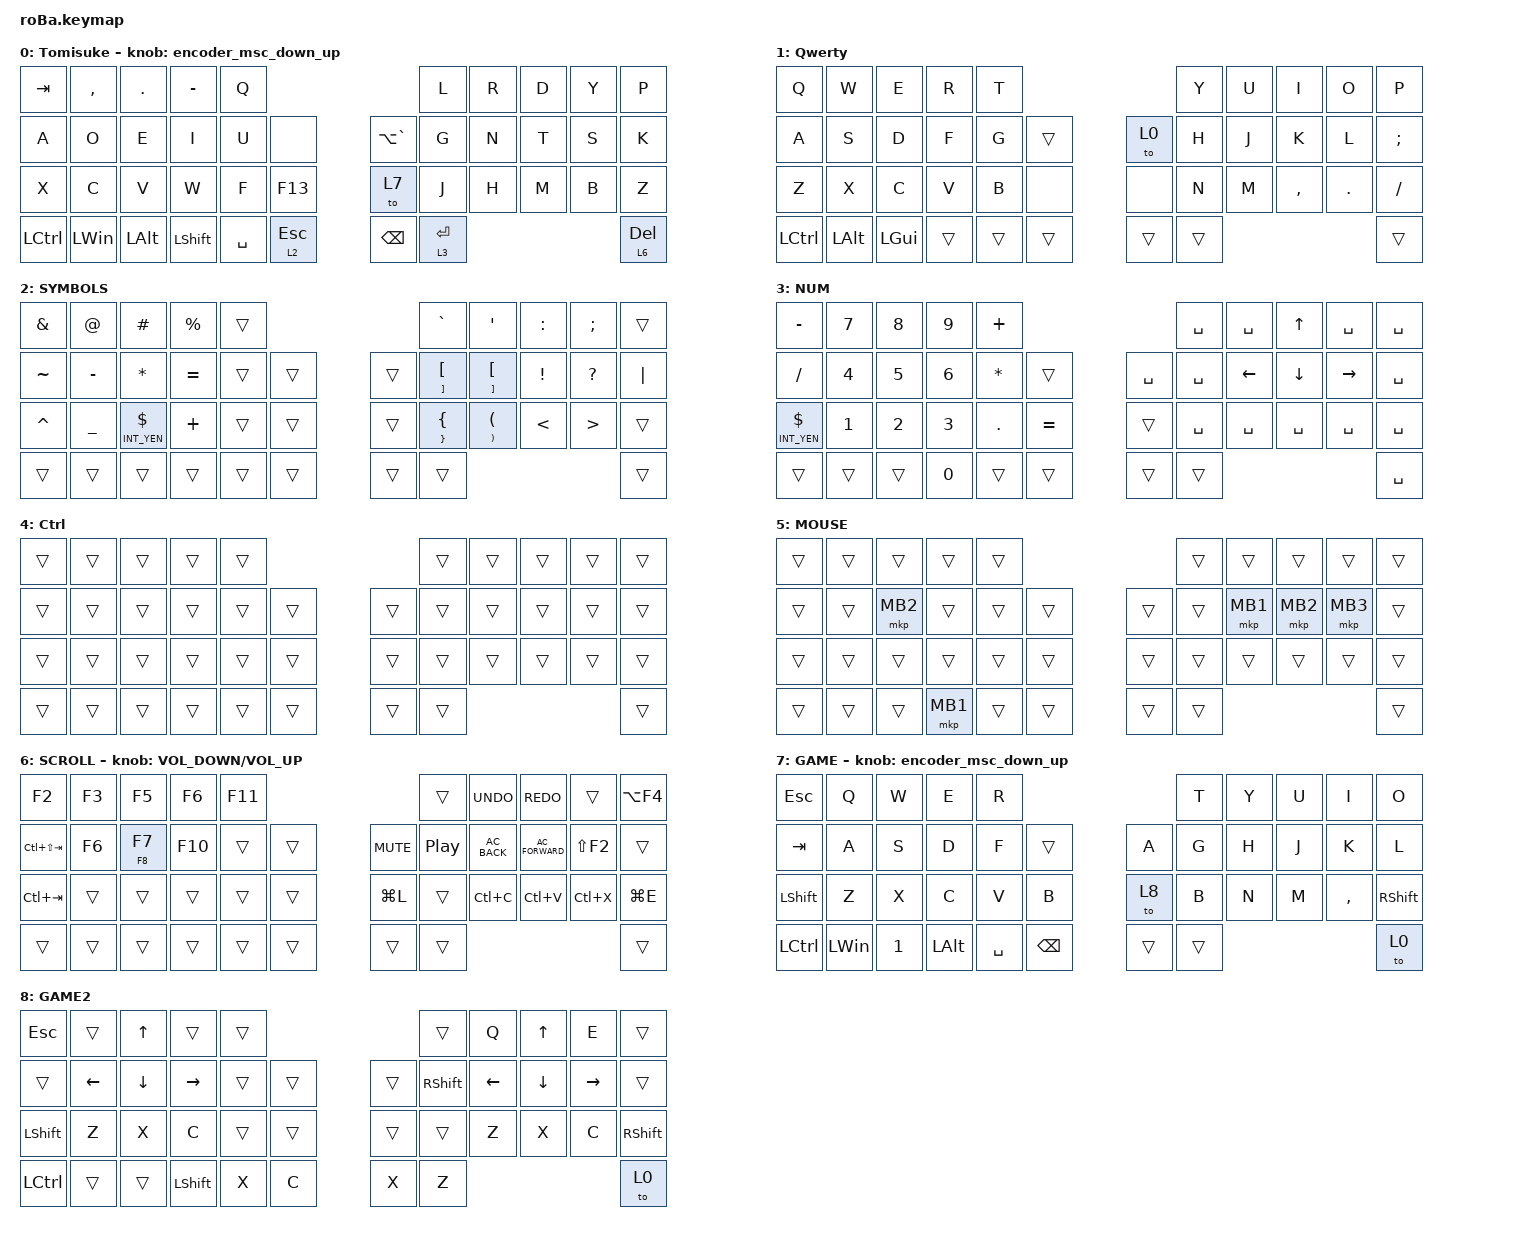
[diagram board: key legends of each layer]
#include <input/processors.dtsi>
#include <behaviors.dtsi>
#include <dt-bindings/zmk/keys.h>
#include <dt-bindings/zmk/pointing.h>

#define ZMK_POINTING_DEFAULT_SCRL_VAL 80

&mt {
    flavor = "balanced";
    quick-tap-ms = <0>;
};

&trackball {
    scroll-layers = <6>;

    // arrows {
    //     layers = <3>;
    //     bindings =
    //         <&kp RIGHT_ARROW>,
    //         <&kp LEFT_ARROW>,
    //         <&kp UP_ARROW>,
    //         <&kp DOWN_ARROW>;
    //     tick = <10>;
    //     wait-ms = <5>;
    //     tap-ms = <5>;
    // };
};

/ {
    combos { compatible = "zmk,combos"; };

    #define MOUSE 5

    macros {
        to_layer_0: to_layer_0 {
            compatible = "zmk,behavior-macro-one-param";
            #binding-cells = <1>;
            bindings = <&to 0 &macro_param_1to1 &kp MACRO_PLACEHOLDER>;
            label = "TO_LAYER_0";
        };
    };

    behaviors {
        lt_to_layer_0: lt_to_layer_0 {
            compatible = "zmk,behavior-hold-tap";
            label = "LAYER_TAP_TO_0";
            bindings = <&mo>, <&to_layer_0>;

            #binding-cells = <2>;
            tapping-term-ms = <200>;
        };

        encoder_msc_down_up: encoder_msc_down_up {
            compatible = "zmk,behavior-sensor-rotate";
            label = "ENCODER_MSC_DOWN_UP";
            #sensor-binding-cells = <0>;
            bindings = <&msc SCRL_DOWN>, <&msc SCRL_UP>;

            tap-ms = <20>;
        };
    };

    keymap {
        compatible = "zmk,keymap";

        Tomisuke {
            bindings = <
&kp TAB    &kp COMMA     &kp PERIOD    &kp MINUS   &kp Q                                                  &kp L        &kp R  &kp D  &kp Y  &kp P
&kp A      &kp O         &kp E         &kp I       &kp U      &none                        &kp LA(GRAVE)  &kp G        &kp N  &kp T  &kp S  &kp K
&kp X      &kp C         &kp V         &kp W       &kp F      &kp F13                      &to 7          &kp J        &kp H  &kp M  &kp B  &kp Z
&kp LCTRL  &kp LEFT_WIN  &kp LEFT_ALT  &kp LSHIFT  &kp SPACE  &lt_to_layer_0 2 ESCAPE      &kp BACKSPACE  &lt 3 ENTER                       &lt_to_layer_0 6 DELETE
            >;

            sensor-bindings = <&encoder_msc_down_up>;
        };

        Qwerty {
            bindings = <
&kp Q      &kp W     &kp E     &kp R   &kp T                       &kp Y   &kp U  &kp I      &kp O    &kp P
&kp A      &kp S     &kp D     &kp F   &kp G   &trans      &to 0   &kp H   &kp J  &kp K      &kp L    &kp SEMI
&kp Z      &kp X     &kp C     &kp V   &kp B   &none       &none   &kp N   &kp M  &kp COMMA  &kp DOT  &kp FSLH
&kp LCTRL  &kp LALT  &kp LGUI  &trans  &trans  &trans      &trans  &trans                             &trans
            >;
        };

        SYMBOLS {
            bindings = <
&kp AMPERSAND  &kp AT          &kp HASH            &kp PERCENT  &trans                      &kp GRAVE      &kp APOS               &kp COLON      &kp SEMI          &trans
&kp TILDE      &kp MINUS       &kp ASTERISK        &kp EQUAL    &trans  &trans      &trans  &mt RBKT LBKT  &mt RBKT LEFT_BRACKET  &kp EXCL       &kp QUESTION      &kp PIPE
&kp CARET      &kp UNDERSCORE  &mt INT_YEN DOLLAR  &kp PLUS     &trans  &trans      &trans  &mt RBRC LBRC  &mt RPAR LPAR          &kp LESS_THAN  &kp GREATER_THAN  &trans
&trans         &trans          &trans              &trans       &trans  &trans      &trans  &trans                                                                 &trans
            >;
        };

        NUM {
            bindings = <
&kp MINUS           &kp NUMBER_7  &kp NUMBER_8  &kp NUMBER_9  &kp PLUS                                &kp SPACE  &kp SPACE  &kp UP     &kp SPACE  &kp SPACE
&kp SLASH           &kp NUMBER_4  &kp N5        &kp N6        &kp ASTERISK  &trans         &kp SPACE  &kp SPACE  &kp LEFT   &kp DOWN   &kp RIGHT  &kp SPACE
&mt INT_YEN DOLLAR  &kp NUMBER_1  &kp NUMBER_2  &kp NUMBER_3  &kp PERIOD    &kp EQUAL      &trans     &kp SPACE  &kp SPACE  &kp SPACE  &kp SPACE  &kp SPACE
&trans              &trans        &trans        &kp N0        &trans        &trans         &trans     &trans                                      &kp SPACE
            >;
        };

        Ctrl {
            bindings = <
&trans  &trans  &trans  &trans  &trans                      &trans  &trans  &trans  &trans  &trans
&trans  &trans  &trans  &trans  &trans  &trans      &trans  &trans  &trans  &trans  &trans  &trans
&trans  &trans  &trans  &trans  &trans  &trans      &trans  &trans  &trans  &trans  &trans  &trans
&trans  &trans  &trans  &trans  &trans  &trans      &trans  &trans                          &trans
            >;
        };

        MOUSE {
            bindings = <
&trans  &trans  &trans    &trans    &trans                      &trans  &trans    &trans    &trans    &trans
&trans  &trans  &mkp MB2  &trans    &trans  &trans      &trans  &trans  &mkp MB1  &mkp MB2  &mkp MB3  &trans
&trans  &trans  &trans    &trans    &trans  &trans      &trans  &trans  &trans    &trans    &trans    &trans
&trans  &trans  &trans    &mkp MB1  &trans  &trans      &trans  &trans                                &trans
            >;
        };

        SCROLL {
            bindings = <
&kp F2           &kp F3  &kp F5     &kp F6   &kp F11                          &trans    &kp K_UNDO     &kp K_REDO        &trans      &kp LA(F4)
&kp LC(LS(TAB))  &kp F6  &mt F8 F7  &kp F10  &trans   &trans      &kp C_MUTE  &kp C_PP  &kp C_AC_BACK  &kp C_AC_FORWARD  &kp LS(F2)  &trans
&kp LC(TAB)      &trans  &trans     &trans   &trans   &trans      &kp LG(L)   &trans    &kp LC(C)      &kp LC(V)         &kp LC(X)   &kp LG(E)
&trans           &trans  &trans     &trans   &trans   &trans      &trans      &trans                                                 &trans
            >;

            sensor-bindings = <&inc_dec_kp C_VOLUME_DOWN C_VOLUME_UP>;
        };

        GAME {
            bindings = <
&kp ESCAPE  &kp Q         &kp W         &kp E         &kp R                                 &kp T   &kp Y  &kp U  &kp I      &kp O
&kp TAB     &kp A         &kp S         &kp D         &kp F      &trans             &kp A   &kp G   &kp H  &kp J  &kp K      &kp L
&kp LSHFT   &kp Z         &kp X         &kp C         &kp V      &kp B              &to 8   &kp B   &kp N  &kp M  &kp COMMA  &kp RSHFT
&kp LCTRL   &kp LEFT_WIN  &kp NUMBER_1  &kp LEFT_ALT  &kp SPACE  &kp BACKSPACE      &trans  &trans                           &to 0
            >;

            sensor-bindings = <&encoder_msc_down_up>;
        };

        GAME2 {
            bindings = <
&kp ESC    &trans    &kp UP    &trans          &trans                      &trans      &kp Q           &kp UP_ARROW    &kp E            &trans
&trans     &kp LEFT  &kp DOWN  &kp RIGHT       &trans  &trans      &trans  &kp RSHIFT  &kp LEFT_ARROW  &kp DOWN_ARROW  &kp RIGHT_ARROW  &trans
&kp LSHFT  &kp Z     &kp X     &kp C           &trans  &trans      &trans  &trans      &kp Z           &kp X           &kp C            &kp RSHFT
&kp LCTRL  &trans    &trans    &kp LEFT_SHIFT  &kp X   &kp C       &kp X   &kp Z                                                        &to 0
            >;
        };
    };
};
